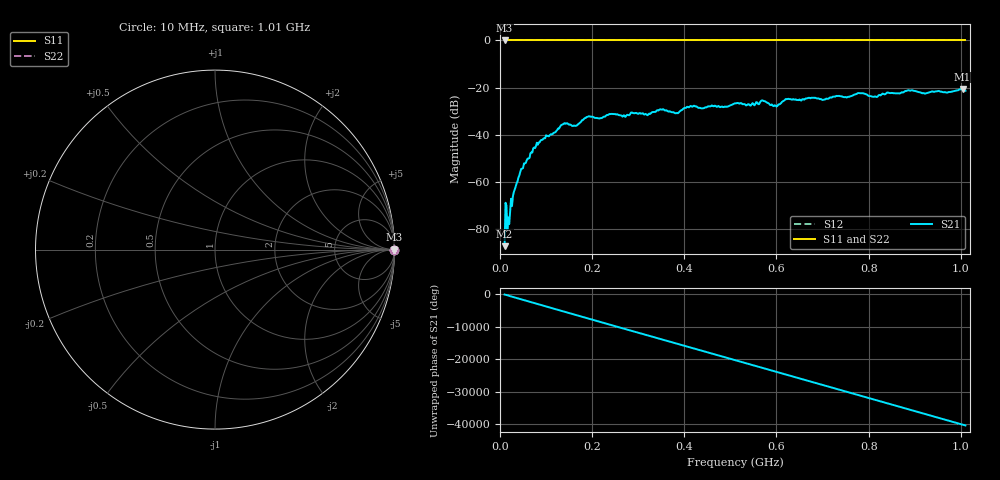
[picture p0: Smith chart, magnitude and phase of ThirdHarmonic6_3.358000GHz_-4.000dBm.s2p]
! 8/17/2025 10:36:59 AM
! C:\ANRITSUVNA\TEMP\TEMP.S2P
! CHANNEL.1
! TR.MEASUREMENT
! RAW.DATA
! RF.CORRECTION.OFF
! AVERAGING.OFF
! IF.BANDWIDTH: 5KHZ
! SWEEPTYPE:  FREQ.SWEEP(Linear)
! Reference Plane Port Info
! PORT:  PORT1  PORT2
! DISTANCE:  0  m  0  m
! TIME:  0  s  0  s
! PHASE.OFFSET:  0  deg.  0  deg.
! LOSS:  0  dB  0  dB
! REF.LOSS:  0  dB  0  dB
! REF.FREQ:  0  Hz  0  Hz
! Power Info
! POWER:  -20  dBm  -20  dBm
! EFF.POWER:  -20  dBm  -20  dBm
! SOURCE.ATTEN:  0  dB  0  dB
! TEST.ATTEN:  0  dB  0  dB
# GHZ S RI R 50.0
! FREQ.GHZ  S11RE  S11IM  S21RE  S21IM  S12RE  S12IM  S22RE  S22IM
!; PortSelection: Port_12
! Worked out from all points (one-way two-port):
!   501 points, 10 MHz to 1.01 GHz, reference 50 ohm
!   highest |S21| = -20.57 dB at 1.004 GHz (marker M1); lowest = -87.1 dB at 10 MHz (marker M2)
!   lowest |S11| = 0.0 dB at 10 MHz (marker M3)
!   |S11| at or under -10 dB: nowhere
!   |S22| runs from 0.0 to 0.0 dB; largest |S21 - S12| = 1.1
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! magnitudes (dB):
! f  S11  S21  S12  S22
! 10 MHz  0.0  -87.1  0.0  0.0
! 20 MHz  0.0  -77.8  0.0  0.0
! 28 MHz  0.0  -66.0  0.0  0.0
! 44 MHz  0.0  -55.6  0.0  0.0
! 76 MHz  0.0  -45.6  0.0  0.0
! 136 MHz  0.0  -35.6  0.0  0.0
! 162 MHz  0.0  -36.1  0.0  0.0
! 178 MHz  0.0  -33.8  0.0  0.0
! 192 MHz  0.0  -32.2  0.0  0.0
! 318 MHz  0.0  -31.3  0.0  0.0
! 344 MHz  0.0  -29.7  0.0  0.0
! 384 MHz  0.0  -30.7  0.0  0.0
! 410 MHz  0.0  -28.3  0.0  0.0
! 510 MHz  0.0  -26.6  0.0  0.0
! 570 MHz  0.0  -25.4  0.0  0.0
! 598 MHz  0.0  -27.6  0.0  0.0
! 622 MHz  0.0  -24.8  0.0  0.0
! 678 MHz  0.0  -24.3  0.0  0.0
! 814 MHz  0.0  -23.7  0.0  0.0
! 844 MHz  0.0  -22.2  0.0  0.0
! 1.004 GHz  0.0  -20.6  0.0  0.0
! 1.01 GHz  0.0  -21.3  0.0  0.0
